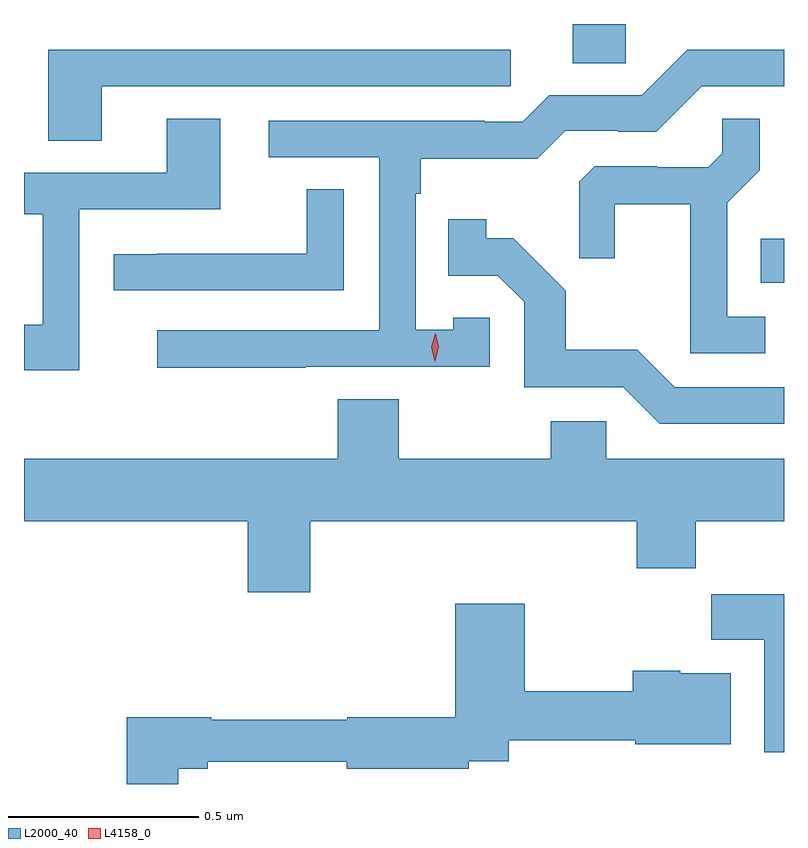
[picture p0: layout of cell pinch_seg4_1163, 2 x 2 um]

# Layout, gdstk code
import gdstk
lib = gdstk.Library(unit=1e-6, precision=1e-09)
def R(c, l, rs):  # rectangles x0, y0, x1, y1
    for r in rs: c.add(gdstk.rectangle(r[:2], r[2:], *l))
def P(c, l, *ps):  # polygons
    for p in ps: c.add(gdstk.Polygon(p, *l))
L2000_40 = (2000, 40)
L4158_0 = (4158, 0)

pinch_seg4_1163 = lib.new_cell('pinch_seg4_1163')
R(pinch_seg4_1163, L2000_40, [(454.07,753.491,454.131,753.607), (453.575,754.069,453.714,754.172)])
P(pinch_seg4_1163, L2000_40, [(452.873,753.27),(453.357,753.27),(453.357,753.399),(453.261,753.399),(453.261,753.367),(453.162,753.367),(453.162,753.725),(453.175,753.725),(453.175,753.818),(453.482,753.818),(453.555,753.891),(453.694,753.891),(453.694,753.888),(453.795,753.888),(453.915,754.008),(454.131,754.008),(454.131,754.104),(453.876,754.104),(453.756,753.984),(453.513,753.984),(453.444,753.915),(453.344,753.915),(453.344,753.918),(452.775,753.918),(452.775,753.822),(453.066,753.822),(453.066,753.366),(452.481,753.366),(452.481,753.268),(452.873,753.268)],
  [(452.335,754.008),(453.412,754.008),(453.412,754.104),(452.195,754.104),(452.195,753.865),(452.335,753.865)],
  [(452.277,753.684),(452.647,753.684),(452.647,753.923),(452.507,753.923),(452.507,753.78),(452.131,753.78),(452.131,753.672),(452.18,753.672),(452.18,753.381),(452.131,753.381),(452.131,753.261),(452.277,753.261)],
  [(454.081,753.402),(453.981,753.402),(453.981,753.701),(454.067,753.787),(454.067,753.923),(453.969,753.923),(453.969,753.832),(453.932,753.795),(453.798,753.795),(453.798,753.798),(453.633,753.798),(453.592,753.757),(453.592,753.555),(453.686,753.555),(453.686,753.698),(453.884,753.698),(453.884,753.306),(454.081,753.306)],
  [(452.973,753.737),(452.875,753.737),(452.875,753.567),(452.479,753.567),(452.479,753.566),(452.367,753.566),(452.367,753.471),(452.973,753.471)],
  [(454.131,753.216),(453.843,753.216),(453.745,753.315),(453.556,753.315),(453.556,753.47),(453.418,753.608),(453.348,753.608),(453.348,753.658),(453.247,753.658),(453.247,753.51),(453.378,753.51),(453.447,753.441),(453.447,753.216),(453.708,753.216),(453.804,753.12),(454.131,753.12)],
  [(452.884,752.864),(453.743,752.864),(453.743,752.74),(453.899,752.74),(453.899,752.864),(454.131,752.864),(454.131,753.028),(453.663,753.028),(453.663,753.126),(453.517,753.126),(453.517,753.028),(453.117,753.028),(453.117,753.185),(452.957,753.185),(452.957,753.028),(452.131,753.028),(452.131,752.864),(452.72,752.864),(452.72,752.676),(452.884,752.676)],
  [(454.131,752.671),(453.94,752.671),(453.94,752.552),(454.079,752.552),(454.079,752.256),(454.131,752.256)],
  [(452.537,752.212),(452.614,752.212),(452.614,752.231),(452.98,752.231),(452.98,752.212),(453.302,752.212),(453.302,752.232),(453.406,752.232),(453.406,752.287),(453.74,752.287),(453.74,752.276),(453.991,752.276),(453.991,752.464),(453.858,752.464),(453.858,752.47),(453.733,752.47),(453.733,752.416),(453.449,752.416),(453.449,752.647),(453.266,752.647),(453.266,752.348),(452.982,752.348),(452.982,752.341),(452.624,752.341),(452.624,752.348),(452.401,752.348),(452.401,752.172),(452.537,752.172)])
P(pinch_seg4_1163, L4158_0, [(453.212,753.285),(453.212,753.285),(453.203,753.321),(453.213,753.357),(453.213,753.358),(453.214,753.357),(453.223,753.321),(453.213,753.285)])

lib.write_gds('pinch_seg4_1163.gds')
